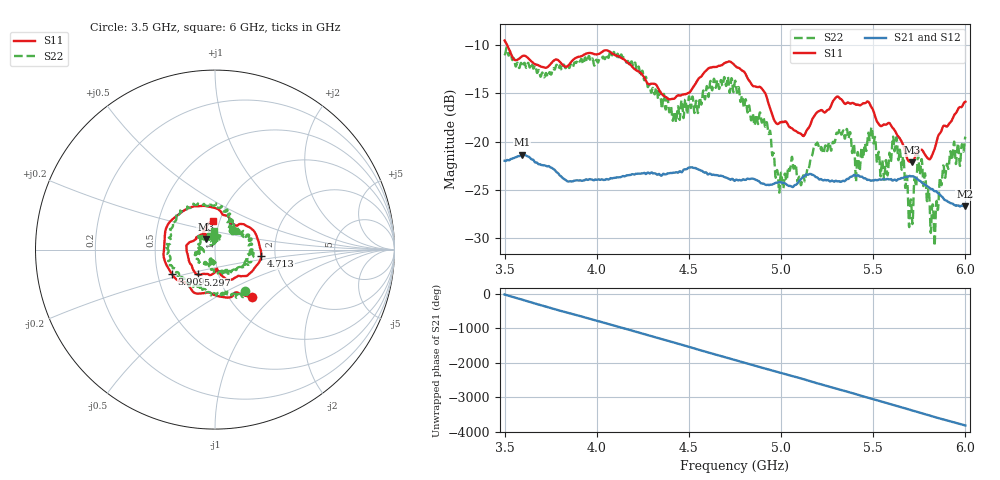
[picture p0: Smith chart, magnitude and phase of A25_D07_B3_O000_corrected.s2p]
! Created with skrf 1.9.0 (http://scikit-rf.org).
# Hz S RI R 50.0
!freq ReS11 ImS11 ReS21 ImS21 ReS12 ImS12 ReS22 ImS22
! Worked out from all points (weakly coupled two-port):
!   1601 points, 3.5 GHz to 6 GHz, reference 50 ohm
!   highest |S21| = -21.37 dB at 3.594 GHz (marker M1); lowest = -26.7 dB at 5.997 GHz (marker M2)
!   lowest |S11| = -22.2 dB at 5.709 GHz (marker M3), VSWR 1.17, Z = 44.8 + j5.31 ohm
!   |S11| at or under -10 dB: 3.514 GHz to end of sweep
!   |S22| runs from -30.8 to -10.2 dB; largest |S21 - S12| = 0.00096
!   S11 on the Smith chart (normalised r, x): 3.5 GHz: 1.27, -0.75; 3.909 GHz: 0.59, -0.17; 4.713 GHz: 1.69, -0.13; 5.297 GHz: 0.79, -0.23; 6 GHz: 0.93, +0.31
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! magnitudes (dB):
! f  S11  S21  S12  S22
! 3.5 GHz  -9.5  -22.0  -22.0  -10.9
! 3.594 GHz  -11.2  -21.4  -21.4  -12.0
! 3.909 GHz  -11.2  -24.0  -24.0  -11.7
! 3.917 GHz  -11.1  -24.1  -24.0  -11.4
! 4.141 GHz  -11.4  -23.6  -23.6  -11.3
! 4.334 GHz  -14.5  -23.4  -23.3  -15.6
! 4.422 GHz  -15.5  -23.2  -23.2  -16.9
! 4.713 GHz  -11.7  -23.8  -23.8  -13.4
! 4.75 GHz  -12.1  -24.1  -24.0  -13.7
! 4.914 GHz  -15.0  -24.5  -24.4  -18.5
! 5 GHz  -18.0  -24.2  -24.2  -23.2
! 5.167 GHz  -17.8  -23.4  -23.4  -21.5
! 5.297 GHz  -15.4  -24.1  -24.0  -19.4
! 5.484 GHz  -16.2  -24.0  -24.0  -19.4
! 5.584 GHz  -18.1  -23.9  -23.9  -21.7
! 5.619 GHz  -18.9  -23.9  -24.0  -20.7
! 5.709 GHz  -22.2  -23.6  -23.6  -27.5
! 5.753 GHz  -20.9  -24.1  -24.0  -23.4
! 5.823 GHz  -21.2  -25.0  -25.0  -26.5
! 5.872 GHz  -18.8  -25.7  -25.7  -24.4
! 5.997 GHz  -15.9  -26.7  -26.6  -19.8
! 6 GHz  -15.9  -26.7  -26.7  -19.5
